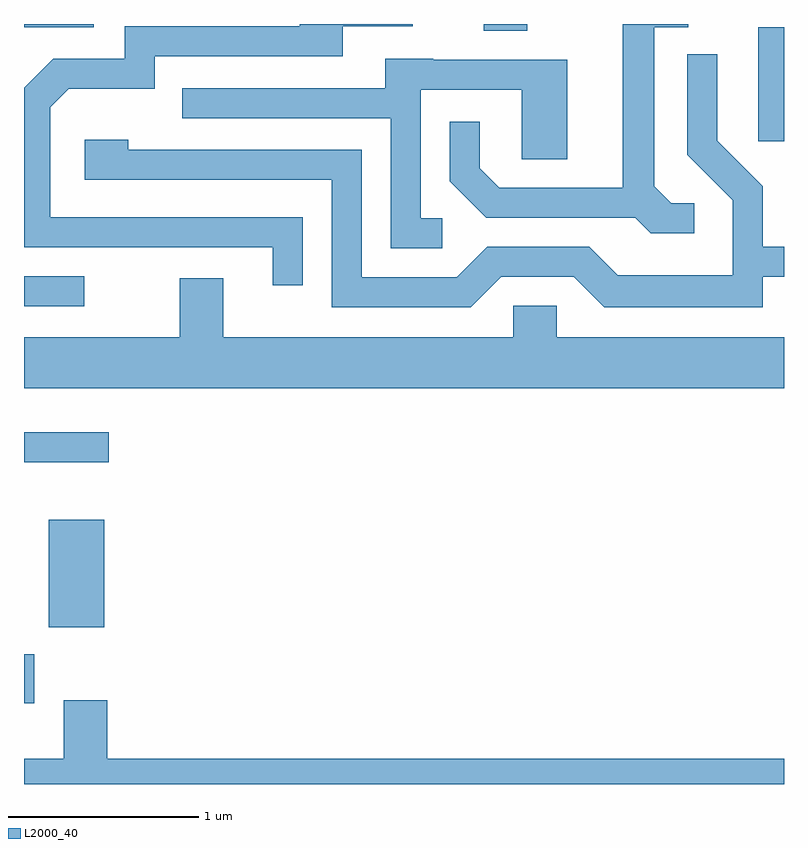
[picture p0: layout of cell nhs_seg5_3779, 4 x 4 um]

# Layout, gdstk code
import gdstk
lib = gdstk.Library(unit=1e-6, precision=1e-09)
def R(c, l, rs):  # rectangles x0, y0, x1, y1
    for r in rs: c.add(gdstk.rectangle(r[:2], r[2:], *l))
def P(c, l, *ps):  # polygons
    for p in ps: c.add(gdstk.Polygon(p, *l))
L2000_40 = (2000, 40)

nhs_seg5_3779 = lib.new_cell('nhs_seg5_3779')
R(nhs_seg5_3779, L2000_40, [(297.611,1428.496,297.664,1428.754), (297.741,1428.896,298.034,1429.464), (297.611,1429.766,298.058,1429.924), (297.611,1430.586,297.928,1430.744), (301.476,1431.456,301.611,1432.054), (300.031,1432.036,300.259,1432.072), (297.611,1432.056,297.978,1432.072)])
P(nhs_seg5_3779, L2000_40, [(299.079,1431.054),(297.749,1431.054),(297.749,1431.634),(297.847,1431.731),(298.299,1431.731),(298.299,1431.901),(299.289,1431.901),(299.289,1432.061),(299.658,1432.061),(299.658,1432.072),(299.061,1432.072),(299.061,1432.059),(298.141,1432.059),(298.141,1431.889),(297.764,1431.889),(297.611,1431.737),(297.611,1430.896),(298.921,1430.896),(298.921,1430.698),(299.079,1430.698)],
  [(301.138,1431.129),(301.017,1431.129),(300.929,1431.217),(300.929,1432.056),(301.108,1432.056),(301.108,1432.072),(300.761,1432.072),(300.761,1431.209),(300.112,1431.209),(300.009,1431.312),(300.009,1431.558),(299.851,1431.558),(299.851,1431.244),(300.044,1431.051),(300.829,1431.051),(300.909,1430.971),(301.138,1430.971)],
  [(300.122,1430.741),(300.504,1430.741),(300.664,1430.581),(301.499,1430.581),(301.499,1430.741),(301.611,1430.741),(301.611,1430.899),(301.499,1430.899),(301.499,1431.217),(301.259,1431.457),(301.259,1431.913),(301.101,1431.913),(301.101,1431.384),(301.341,1431.144),(301.341,1430.749),(300.737,1430.749),(300.587,1430.899),(300.049,1430.899),(299.889,1430.739),(299.389,1430.739),(299.389,1431.409),(298.159,1431.409),(298.159,1431.464),(297.931,1431.464),(297.931,1431.251),(299.231,1431.251),(299.231,1430.581),(299.962,1430.581)],
  [(299.813,1431.049),(299.699,1431.049),(299.699,1431.726),(300.231,1431.726),(300.231,1431.361),(300.469,1431.361),(300.469,1431.884),(299.765,1431.884),(299.765,1431.889),(299.511,1431.889),(299.511,1431.734),(298.443,1431.734),(298.443,1431.576),(299.541,1431.576),(299.541,1430.891),(299.813,1430.891)],
  [(301.611,1430.424),(300.414,1430.424),(300.414,1430.589),(300.186,1430.589),(300.186,1430.424),(298.659,1430.424),(298.659,1430.734),(298.431,1430.734),(298.431,1430.424),(297.611,1430.424),(297.611,1430.156),(301.611,1430.156)],
  [(301.611,1428.204),(298.049,1428.204),(298.049,1428.514),(297.821,1428.514),(297.821,1428.204),(297.611,1428.204),(297.611,1428.072),(301.611,1428.072)])

lib.write_gds('nhs_seg5_3779.gds')
